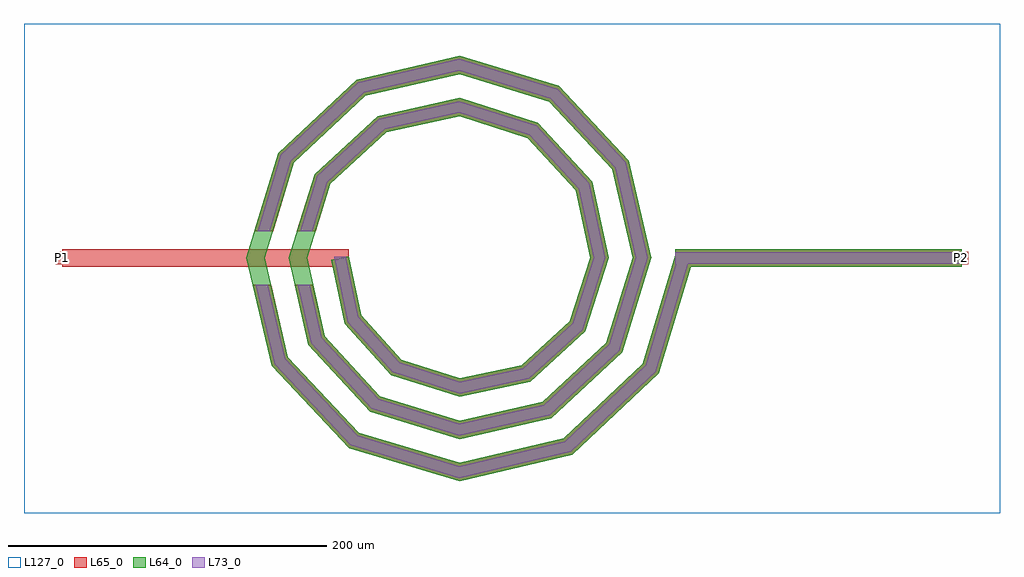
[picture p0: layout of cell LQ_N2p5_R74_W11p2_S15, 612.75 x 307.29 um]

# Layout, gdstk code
import gdstk
lib = gdstk.Library(unit=1e-6, precision=1e-09)
def R(c, l, rs):  # rectangles x0, y0, x1, y1
    for r in rs: c.add(gdstk.rectangle(r[:2], r[2:], *l))
def P(c, l, *ps):  # polygons
    for p in ps: c.add(gdstk.Polygon(p, *l))
L64_0 = (64, 0)
L65_0 = (65, 0)
L73_0 = (73, 0)
L127_0 = (127, 0)

lq_n2p5_r74_w11p2_s15 = lib.new_cell('LQ_N2p5_R74_W11p2_S15')
R(lq_n2p5_r74_w11p2_s15, L64_0, [(135.502,-5.6,315.502,5.6)])
P(lq_n2p5_r74_w11p2_s15, L64_0, [(-61.565,-35.902),(-36.477,-63.783),(0.293,-75.684),(39.193,-67.314),(69.508,-39.809),(82.308,0.271),(73.061,42.487),(43.139,75.235),(0.252,88.933),(-45.784,78.807),(-80.963,46.466),(-95.557,0.236),(-84.552,-49.082),(-49.791,-86.693),(0.221,-102.182),(52.383,-90.296),(92.423,-53.115),(108.807,0.208),(96.04,55.685),(56.438,98.155),(0.197,115.432),(-58.988,101.783),(-103.887,59.76),(-122.057,0.187),(-107.525,-62.292),(-63.08,-109.62),(0.178,-128.682),(65.596,-113.267),(115.353,-66.4),(135.738,1.608),(146.466,-1.608),(125.219,-72.494),(71.089,-123.479),(0.178,-140.272),(-69.188,-119.476),(-117.746,-67.769),(-133.647,0.187),(-113.734,65.884),(-64.447,112.013),(0.197,127.021),(62.58,107.991),(106.281,61.125),(120.396,0.208),(102.247,-59.278),(57.802,-100.549),(0.221,-113.77),(-55.976,-96.502),(-94.818,-54.477),(-107.144,0.236),(-90.757,52.676),(-51.15,89.088),(0.252,100.518),(49.378,85.01),(83.358,47.822),(93.893,0.271),(79.262,-46.083),(44.491,-77.63),(0.293,-87.266),(-42.79,-73.511),(-71.904,-41.156),(-80.33,-1.154),(-69.37,1.154)])
R(lq_n2p5_r74_w11p2_s15, L65_0, [(-249.25,-5.6,-69.25,5.6), (135.502,-5.6,315.502,5.6), (-253.25,-4,-245.25,4), (311.502,-4,319.502,4)])
P(lq_n2p5_r74_w11p2_s15, L65_0, [(-107.525,-62.292),(-63.08,-109.62),(0.178,-128.682),(65.596,-113.267),(115.353,-66.4),(135.738,1.608),(146.467,-1.608),(125.219,-72.494),(71.089,-123.479),(0.178,-140.272),(-69.188,-119.476),(-117.746,-67.769),(-129.672,-16.8),(-118.17,-16.8)],
  [(-84.552,-49.083),(-49.791,-86.693),(0.221,-102.182),(52.383,-90.296),(92.423,-53.115),(108.807,0.208),(96.04,55.685),(56.438,98.155),(0.197,115.432),(-58.988,101.783),(-103.887,59.76),(-116.908,16.8),(-128.611,16.8),(-113.734,65.884),(-64.447,112.013),(0.197,127.021),(62.58,107.991),(106.281,61.125),(120.396,0.208),(102.247,-59.278),(57.802,-100.549),(0.221,-113.77),(-55.976,-96.502),(-94.818,-54.477),(-103.306,-16.8),(-91.826,-16.8)],
  [(-36.477,-63.783),(0.293,-75.684),(39.193,-67.314),(69.508,-39.809),(82.308,0.271),(73.061,42.487),(43.139,75.235),(0.252,88.933),(-45.784,78.807),(-80.963,46.466),(-90.234,16.8),(-101.968,16.8),(-90.757,52.676),(-51.15,89.088),(0.252,100.519),(49.378,85.01),(83.358,47.822),(93.893,0.271),(79.262,-46.083),(44.491,-77.63),(0.293,-87.266),(-42.79,-73.512),(-71.904,-41.156),(-80.33,-1.154),(-69.37,1.154),(-61.565,-35.902)])
R(lq_n2p5_r74_w11p2_s15, L73_0, [(135.502,-3.6,315.502,3.6)])
P(lq_n2p5_r74_w11p2_s15, L73_0, [(-109.35,-63.27),(-64.171,-111.38),(0.114,-130.752),(66.577,-115.091),(117.114,-67.488),(137.654,1.034),(144.551,-1.034),(123.457,-71.406),(70.108,-121.656),(0.114,-138.203),(-68.098,-117.716),(-115.921,-66.791),(-127.618,-16.8),(-120.224,-16.8)],
  [(-86.385,-50.046),(-50.896,-88.445),(0.142,-104.251),(53.351,-92.127),(94.178,-54.216),(110.876,0.134),(97.869,56.656),(57.535,99.911),(0.127,117.501),(-59.963,103.61),(-105.645,60.853),(-118.998,16.8),(-126.521,16.8),(-111.976,64.79),(-63.472,110.186),(0.127,124.952),(61.483,106.234),(104.452,60.154),(118.326,0.134),(100.493,-58.177),(56.834,-98.718),(0.142,-111.701),(-54.872,-94.751),(-92.985,-53.514),(-101.256,-16.8),(-93.876,-16.8)],
  [(-37.604,-65.52),(0.188,-77.752),(40.139,-69.156),(71.25,-40.93),(84.377,0.174),(74.9,43.44),(44.253,76.98),(0.162,91.002),(-46.742,80.643),(-82.712,47.575),(-92.329,16.8),(-99.873,16.8),(-89.008,51.567),(-50.192,87.252),(0.162,98.45),(48.264,83.264),(81.52,46.869),(91.824,0.174),(77.52,-44.962),(43.545,-75.788),(0.188,-85.198),(-41.662,-71.774),(-70.058,-40.218),(-78.373,0.742),(-71.327,0.742),(-63.411,-36.84)])
R(lq_n2p5_r74_w11p2_s15, L127_0, [(-273.25,-160.272,339.502,147.021)])
lq_n2p5_r74_w11p2_s15.add(gdstk.Label('P2', (315.502,0), layer=65, texttype=0))
lq_n2p5_r74_w11p2_s15.add(gdstk.Label('P1', (-249.25,0), layer=65, texttype=0))
lq_n2p5_r74_w11p2_s15.add(gdstk.Label('P2', (319.502,0), layer=145, texttype=0))
lq_n2p5_r74_w11p2_s15.add(gdstk.Label('P1', (-253.25,0), layer=145, texttype=0))

lib.write_gds('LQ_N2p5_R74_W11p2_S15.gds')
